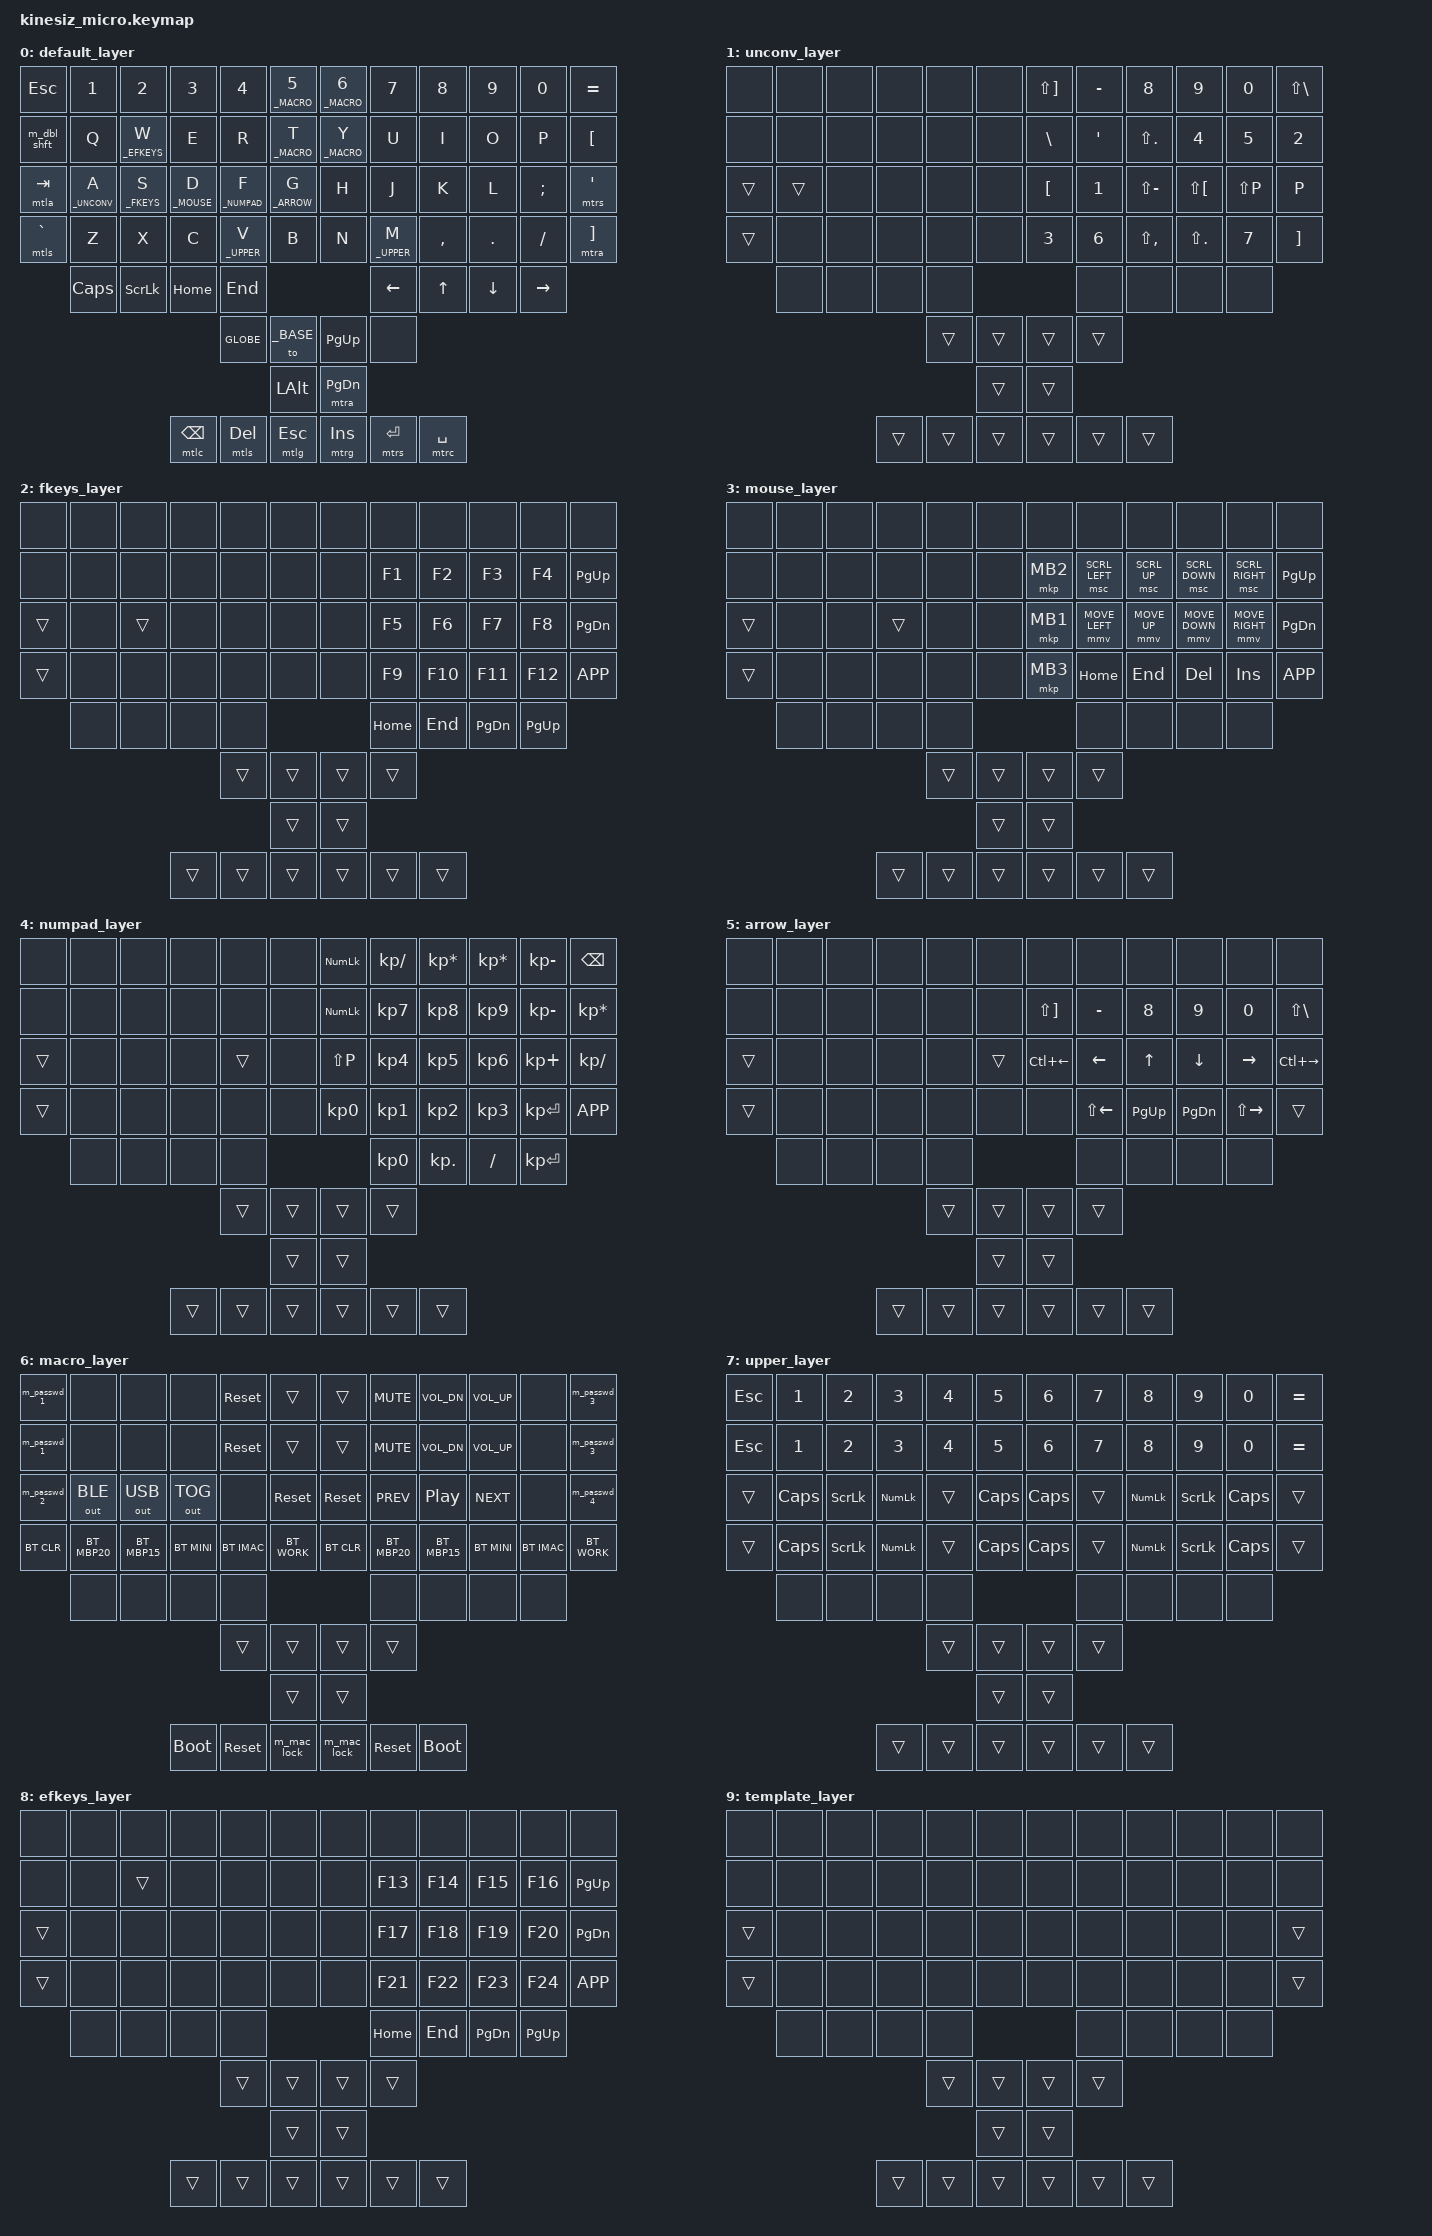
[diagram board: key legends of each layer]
/*
 * Copyright (c) 2020 The ZMK Contributors
 *
 * SPDX-License-Identifier: MIT
 */

#include <behaviors.dtsi>
#include <dt-bindings/zmk/keys.h>
#include <dt-bindings/zmk/bt.h>
#include <dt-bindings/zmk/outputs.h>
#include <dt-bindings/zmk/pointing.h>

#define _BASE       0
#define _UNCONV     1
#define _FKEYS      2
#define _MOUSE      3
#define _NUMPAD     4
#define _ARROW      5
#define _MACRO      6
#define _UPPER      7
#define _EFKEYS     8
#define _GAME       9

#define NXT_LYR         &trans
#define _TRANS_         &trans
#define _______         &trans
#define ___x___         &none
#define ___X___         &none

#define BT_RESET        BT_CLR
#define BT_MBP20        BT_SEL 0
#define BT_MBP15        BT_SEL 1
#define BT_MINI         BT_SEL 2
#define BT_IMAC         BT_SEL 3
#define BT_WORK         BT_SEL 4

#define mtla            mt LALT
#define mtra            mt RALT
#define mtlc            mt LCTRL
#define mtrc            mt RCTRL
#define mtls            mt LSHFT
#define mtrs            mt RSHFT
#define mtlg            mt LGUI
#define mtrg            mt RGUI


&lt {
        tapping-term-ms = <250>;
        quick-tap-ms = <250>;
};

&mt {
        tapping-term-ms = <250>;
        quick-tap-ms = <250>;
};

/ {
        macros {
                m_dbl_shft: m_dbl_shft {
                        compatible = "zmk,behavior-macro";
                        #binding-cells = <0>;
                        wait-ms = <40>;
                        tap-ms = <40>;
                        bindings
                                = <&macro_press   &kp LSHFT>
                                , <&macro_release &kp LSHFT>
                                , <&macro_press   &kp LSHFT>
                                , <&macro_release &kp LSHFT>
                                ;
                };
                m_passwd_1: m_passwd_1 {
                        compatible = "zmk,behavior-macro";
                        #binding-cells = <0>;
                        wait-ms = <40>;
                        tap-ms = <40>;
                        bindings
                                = <&kp C>
                                , <&kp U>
                                , <&kp B>
                                , <&kp I>
                                , <&kp C>
                                , <&kp R>
                                , <&kp U>
                                , <&kp B>
                                , <&kp I>
                                , <&kp C>
                                , <&kp ENTER>
                                ;
                };
                m_passwd_2: m_passwd_2 {
                        compatible = "zmk,behavior-macro";
                        #binding-cells = <0>;
                        wait-ms = <40>;
                        tap-ms = <40>;
                        bindings
                                = <&kp C>
                                , <&kp U>
                                , <&kp B>
                                , <&kp UNDERSCORE>
                                , <&kp N7>
                                , <&kp N1>
                                , <&kp N3>
                                , <&kp ENTER>
                                ;
                };
                m_passwd_3: m_passwd_3 {
                        compatible = "zmk,behavior-macro";
                        #binding-cells = <0>;
                        wait-ms = <40>;
                        tap-ms = <40>;
                        bindings
                                = <&kp V>
                                , <&kp I>
                                , <&kp T>
                                , <&kp SEMICOLON>
                                , <&kp V>
                                , <&kp E>
                                , <&kp I>
                                , <&kp T>
                                , <&kp SEMICOLON>
                                , <&kp V>
                                , <&kp ENTER>
                                ;
                };
                m_passwd_4: m_passwd_4 {
                        compatible = "zmk,behavior-macro";
                        #binding-cells = <0>;
                        wait-ms = <40>;
                        tap-ms = <40>;
                        bindings
                                = <&kp V>
                                , <&kp I>
                                , <&kp T>
                                , <&kp LS(APOS)>
                                , <&kp LS(N7)>
                                , <&kp LS(N1)>
                                , <&kp LS(N3)>
                                , <&kp ENTER>
                                ;
                };
                m_mac_lock: m_mac_lock {
                        compatible = "zmk,behavior-macro";
                        #binding-cells = <0>;
                        wait-ms = <1000>;
                        tap-ms = <1000>;
                        bindings
                                = <&kp LC(LG(Q))>
                                , <&kp ESC>
                                , <&kp ESC>
                                , <&kp ESC>
                                ;
                };
        };

        keymap {
                compatible = "zmk,keymap";

// the layers defined below are supposed to be used with WCE layout on Mac
// on hardware level, it's QWERTY - but with WCE, it's customized Workman for Programmers
// primarly, it's optimized for use with Java and IntelliJ IDEA, and Perl
// also, layers are trivially convertible for 3*6 keyboards like Corne or TBK Mini

// Layer 0 : default layer
// -------------------------------------------------------------------------------------------
/*
            ESC  !    @    #    {    }                      [    ]    *    (    )    =+
            DSFT Q    D    R    W    B                      J    F    U    P    ;:   '"
            TAB  A    S    H    T    G                      Y    N    E    O    I    -_
            GRV  Z    X    M    C    V                      K    L    ,<   .>   /?   \|
*/
                default_layer {
                        bindings = <
   &kp ESC        &kp N1         &kp N2         &kp N3         &kp N4         &lt _MACRO N5             &lt _MACRO N6  &kp N7         &kp N8         &kp N9         &kp N0         &kp EQUAL
   &m_dbl_shft    &kp Q          &lt _EFKEYS W  &kp E          &kp R          &lt _MACRO T              &lt _MACRO Y   &kp U          &kp I          &kp O          &kp P          &kp LBKT
   &mtla TAB      &lt _UNCONV A  &lt _FKEYS S   &lt _MOUSE D   &lt _NUMPAD F  &lt _ARROW G              &kp H          &kp J          &kp K          &kp L          &kp SEMI       &mtrs APOS
   &mtls GRAVE    &kp Z          &kp X          &kp C          &lt _UPPER V   &kp B                     &kp N          &lt _UPPER M   &kp COMMA      &kp DOT        &kp FSLH       &mtra RBKT
                  &kp CAPS       &kp SLCK       &kp HOME       &kp END                                                 &kp LEFT       &kp UP         &kp DOWN       &kp RIGHT
                                                               &kp GLOBE      &to _BASE                 &kp PG_UP      ___x___
                                                                              &kp LALT                  &mtra PG_DN
                                                &mtlc BSPC     &mtls DELETE   &mtlg ESC                 &mtrg INS      &mtrs RET      &mtrc SPACE
                        >;
                };


// Layer1/_UNCONV: unconvenient keys
// -------------------------------------------------------------------------------------------
/*
            NO  ,NO  ,NO  ,NO  ,NO  ,NO  ,                  |    ^    *    (    )    %
            NO  ,NO  ,NO  ,NO  ,NO  ,NO  ,                  &    -    >    {    }    @
            NO  ,TRNS,NO  ,NO  ,NO  ,NO  ,                  '    !    $    "    :    ;
            NO  ,NO  ,NO  ,NO  ,NO  ,NO  ,                  #    [    <    >    ]    \
*/
                unconv_layer {
                        bindings = <
   ___x___        ___x___        ___x___        ___x___        ___x___        ___x___                   &kp LS(RBKT)   &kp MINUS      &kp N8         &kp N9         &kp N0         &kp LS(BSLH)
   ___x___        ___x___        ___x___        ___x___        ___x___        ___x___                   &kp BSLH       &kp APOS       &kp LS(DOT)    &kp N4         &kp N5         &kp N2
   _TRANS_        NXT_LYR        ___x___        ___x___        ___x___        ___x___                   &kp LBKT       &kp N1         &kp LS(MINUS)  &kp LS(LBKT)   &kp LS(P)      &kp P
   _TRANS_        ___x___        ___x___        ___x___        ___x___        ___x___                   &kp N3         &kp N6         &kp LS(COMMA)  &kp LS(DOT)    &kp N7         &kp RBKT
                  ___x___        ___x___        ___x___        ___x___                                                 ___x___        ___x___        ___x___        ___x___
                                                               _TRANS_        _TRANS_                   _TRANS_        _TRANS_
                                                                              _TRANS_                   _TRANS_
                                                _TRANS_        _TRANS_        _TRANS_                   _TRANS_        _TRANS_        _TRANS_
                        >;
                };


// Layer2/_FKEYS: F-keys + PgUp/PgDn + App
// -------------------------------------------------------------------------------------------
                fkeys_layer {
                        bindings = <
   ___x___        ___x___        ___x___        ___x___        ___x___        ___x___                   ___x___        ___x___        ___x___        ___x___        ___x___        ___x___
   ___x___        ___x___        ___x___        ___x___        ___x___        ___x___                   ___x___        &kp F1         &kp F2         &kp F3         &kp F4         &kp PG_UP
   _TRANS_        ___x___        NXT_LYR        ___x___        ___x___        ___x___                   ___x___        &kp F5         &kp F6         &kp F7         &kp F8         &kp PG_DN
   _TRANS_        ___x___        ___x___        ___x___        ___x___        ___x___                   ___x___        &kp F9         &kp F10        &kp F11        &kp F12        &kp K_APP
                  ___x___        ___x___        ___x___        ___x___                                                 &kp HOME       &kp END        &kp PG_DN      &kp PG_UP
                                                               _TRANS_        _TRANS_                   _TRANS_        _TRANS_
                                                                              _TRANS_                   _TRANS_
                                                _TRANS_        _TRANS_        _TRANS_                   _TRANS_        _TRANS_        _TRANS_
                        >;
                };


// Layer3/_MOUSE: mouse and navigation
// -------------------------------------------------------------------------------------------
                mouse_layer {
                        bindings = <
   ___x___        ___x___        ___x___        ___x___        ___x___        ___x___                   ___x___        ___x___        ___x___        ___x___        ___x___        ___x___
   ___x___        ___x___        ___x___        ___x___        ___x___        ___x___                   &mkp MB2       &msc SCRL_LEFT &msc SCRL_UP   &msc SCRL_DOWN &msc SCRL_RIGHT &kp PG_UP
   _TRANS_        ___x___        ___x___        NXT_LYR        ___x___        ___x___                   &mkp MB1       &mmv MOVE_LEFT &mmv MOVE_UP   &mmv MOVE_DOWN &mmv MOVE_RIGHT &kp PG_DN
   _TRANS_        ___x___        ___x___        ___x___        ___x___        ___x___                   &mkp MB3       &kp HOME       &kp END        &kp DELETE     &kp INSERT      &kp K_APP
                  ___x___        ___x___        ___x___        ___x___                                                 ___x___        ___x___        ___x___        ___x___
                                                               _TRANS_        _TRANS_                   _TRANS_        _TRANS_
                                                                              _TRANS_                   _TRANS_
                                                _TRANS_        _TRANS_        _TRANS_                   _TRANS_        _TRANS_        _TRANS_
                        >;
                };


// Layer4/_NUMPAD: numpad
// -------------------------------------------------------------------------------------------
                numpad_layer {
                        bindings = <
   ___x___        ___x___        ___x___        ___x___        ___x___        ___x___                   &kp KP_NLCK    &kp KP_SLASH   &kp KP_ASTERISK &kp KP_ASTERISK &kp KP_MINUS   &kp BSPC
   ___x___        ___x___        ___x___        ___x___        ___x___        ___x___                   &kp KP_NLCK    &kp KP_N7      &kp KP_N8       &kp KP_N9       &kp KP_MINUS   &kp KP_MULTIPLY
   _TRANS_        ___x___        ___x___        ___x___        NXT_LYR        ___x___                   &kp LS(P)      &kp KP_N4      &kp KP_N5       &kp KP_N6       &kp KP_PLUS    &kp KP_DIVIDE
   _TRANS_        ___x___        ___x___        ___x___        ___x___        ___x___                   &kp KP_N0      &kp KP_N1      &kp KP_N2       &kp KP_N3       &kp KP_ENTER   &kp K_APP
                  ___x___        ___x___        ___x___        ___x___                                                 &kp KP_N0      &kp KP_DOT      &kp SLASH       &kp KP_ENTER
                                                               _TRANS_        _TRANS_                   _TRANS_        _TRANS_
                                                                              _TRANS_                   _TRANS_
                                                _TRANS_        _TRANS_        _TRANS_                   _TRANS_        _TRANS_        _TRANS_
                        >;
                };


// Layer5/_ARROW: unconvenient keys + arrows block
// -------------------------------------------------------------------------------------------
                arrow_layer {
                        bindings = <
   ___x___        ___x___        ___x___        ___x___        ___x___        ___x___                   ___x___        ___x___        ___x___        ___x___        ___x___        ___x___
   ___x___        ___x___        ___x___        ___x___        ___x___        ___x___                   &kp LS(RBKT)   &kp MINUS      &kp N8         &kp N9         &kp N0         &kp LS(BSLH)
   _TRANS_        ___x___        ___x___        ___x___        ___x___        NXT_LYR                   &kp LC(LEFT)   &kp LEFT       &kp UP         &kp DOWN       &kp RIGHT      &kp LC(RIGHT)
   _TRANS_        ___x___        ___x___        ___x___        ___x___        ___x___                   ___x___        &kp LS(LEFT)   &kp PG_UP      &kp PG_DN      &kp LS(RIGHT)  _TRANS_
                  ___x___        ___x___        ___x___        ___x___                                                 ___x___        ___x___        ___x___        ___x___
                                                               _TRANS_        _TRANS_                   _TRANS_        _TRANS_
                                                                              _TRANS_                   _TRANS_
                                                _TRANS_        _TRANS_        _TRANS_                   _TRANS_        _TRANS_        _TRANS_
                        >;
                };


// Layer6/_MACRO: Macros, media and full F-keys
// -------------------------------------------------------------------------------------------
                macro_layer {
                        bindings = <
   &m_passwd_1    ___x___        ___x___        ___x___        &sys_reset     NXT_LYR                   NXT_LYR        &kp C_MUTE     &kp C_VOL_DN   &kp C_VOL_UP   ___x___        &m_passwd_3
   &m_passwd_1    ___x___        ___x___        ___x___        &sys_reset     NXT_LYR                   NXT_LYR        &kp C_MUTE     &kp C_VOL_DN   &kp C_VOL_UP   ___x___        &m_passwd_3
   &m_passwd_2    &out OUT_BLE   &out OUT_USB   &out OUT_TOG   ___x___        &sys_reset                &sys_reset     &kp C_PREV     &kp C_PP       &kp C_NEXT     ___x___        &m_passwd_4
   &bt BT_RESET   &bt BT_MBP20   &bt BT_MBP15   &bt BT_MINI    &bt BT_IMAC    &bt BT_WORK               &bt BT_RESET   &bt BT_MBP20   &bt BT_MBP15   &bt BT_MINI    &bt BT_IMAC    &bt BT_WORK
                  ___x___        ___x___        ___x___        ___x___                                                 ___x___        ___x___        ___x___        ___x___
                                                               _TRANS_        _TRANS_                   _TRANS_        _TRANS_
                                                                              _TRANS_                   _TRANS_
                                                &bootloader    &sys_reset     &m_mac_lock               &m_mac_lock    &sys_reset     &bootloader
                        >;
                };


// Layer7/_UPPER: upper-row, which is missing on 3x6 layout
// -------------------------------------------------------------------------------------------
                upper_layer {
                        bindings = <
   &kp ESC        &kp N1         &kp N2         &kp N3         &kp N4         &kp N5                    &kp N6         &kp N7         &kp N8         &kp N9         &kp N0         &kp EQUAL
   &kp ESC        &kp N1         &kp N2         &kp N3         &kp N4         &kp N5                    &kp N6         &kp N7         &kp N8         &kp N9         &kp N0         &kp EQUAL
   _TRANS_        &kp CAPS       &kp SLCK       &kp KP_NLCK    NXT_LYR        &kp CAPS                  &kp CAPS       NXT_LYR        &kp KP_NLCK    &kp SLCK       &kp CAPS       _TRANS_
   _TRANS_        &kp CAPS       &kp SLCK       &kp KP_NLCK    NXT_LYR        &kp CAPS                  &kp CAPS       NXT_LYR        &kp KP_NLCK    &kp SLCK       &kp CAPS       _TRANS_
                  ___x___        ___x___        ___x___        ___x___                                                 ___x___        ___x___        ___x___        ___x___
                                                               _TRANS_        _TRANS_                   _TRANS_        _TRANS_
                                                                              _TRANS_                   _TRANS_
                                                _TRANS_        _TRANS_        _TRANS_                   _TRANS_        _TRANS_        _TRANS_
                        >;
                };


// Layer8/_EFKEYS: Extra F-keys + PgUp/PgDn + App
// -------------------------------------------------------------------------------------------
                efkeys_layer {
                        bindings = <
   ___x___        ___x___        ___x___        ___x___        ___x___        ___x___                   ___x___        ___x___        ___x___        ___x___        ___x___        ___x___
   ___x___        ___x___        NXT_LYR        ___x___        ___x___        ___x___                   ___x___        &kp F13        &kp F14        &kp F15        &kp F16        &kp PG_UP
   _TRANS_        ___x___        ___x___        ___x___        ___x___        ___x___                   ___x___        &kp F17        &kp F18        &kp F19        &kp F20        &kp PG_DN
   _TRANS_        ___x___        ___x___        ___x___        ___x___        ___x___                   ___x___        &kp F21        &kp F22        &kp F23        &kp F24        &kp K_APP
                  ___x___        ___x___        ___x___        ___x___                                                 &kp HOME       &kp END        &kp PG_DN      &kp PG_UP
                                                               _TRANS_        _TRANS_                   _TRANS_        _TRANS_
                                                                              _TRANS_                   _TRANS_
                                                _TRANS_        _TRANS_        _TRANS_                   _TRANS_        _TRANS_        _TRANS_
                        >;
                };


// -------------------------------------------------------------------------------------------
                template_layer {
                        bindings = <
   ___x___        ___x___        ___x___        ___x___        ___x___        ___x___                   ___x___        ___x___        ___x___        ___x___        ___x___        ___x___
   ___x___        ___x___        ___x___        ___x___        ___x___        ___x___                   ___x___        ___x___        ___x___        ___x___        ___x___        ___x___
   _TRANS_        ___x___        ___x___        ___x___        ___x___        ___x___                   ___x___        ___x___        ___x___        ___x___        ___x___        _TRANS_
   _TRANS_        ___x___        ___x___        ___x___        ___x___        ___x___                   ___x___        ___x___        ___x___        ___x___        ___x___        _TRANS_
                  ___x___        ___x___        ___x___        ___x___                                                 ___x___        ___x___        ___x___        ___x___
                                                               _TRANS_        _TRANS_                   _TRANS_        _TRANS_
                                                                              _TRANS_                   _TRANS_
                                                _TRANS_        _TRANS_        _TRANS_                   _TRANS_        _TRANS_        _TRANS_
                        >;
                };

        };
};

